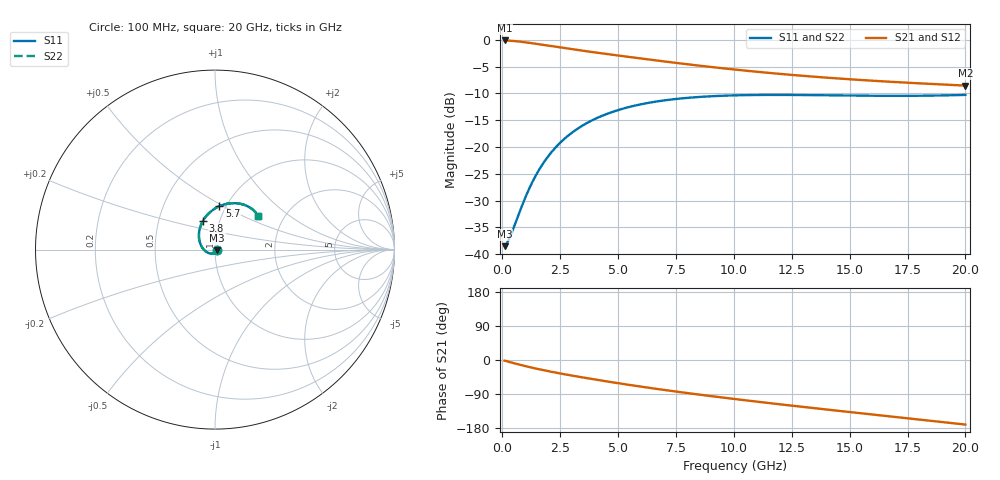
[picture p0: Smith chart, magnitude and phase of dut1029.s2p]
! Touchstone file exported from HFSS 2024.1.0
!  File:  C:/UserFiles/LocalFiles/RDL_TSV_Batchsim/temp_RDL_TSV_1029_1780083094.aedt
!  Generated:  03:45:09 AM May 30, 2026
!  Design:  RDL_TSV
!  Project:  temp_RDL_TSV_1029_1780083094
!  Setup:  Setup1
!  Solution:  Sweep
! Variables:
!  dtsv = 13.22um
!  hbump = 3um
!  htsv = 78.4um
!  ldown = 334.22um
!  lrdl = 296.53um
!  p = 40
!  p1 = 56.56um
!  rhole = 10um
!  subl = 2188.78um
!  t = 450um
!  tdown = 3.05um
!  trdl = 3.19um
!  viad = 10um
!  wdown = 29.95um
!  wrdl = 18.48um
!  xbump = 18um
# GHz S MA R 50.000000
! Terminal data exported
! Port[1] = TM1_1_T1
! Port[2] = TM1_4_T1
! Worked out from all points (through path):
!   200 points, 100 MHz to 20 GHz, reference 50 ohm
!   highest |S21| = -0.11 dB at 100 MHz (marker M1); lowest = -8.5 dB at 20 GHz (marker M2)
!   group delay of S21, straight-line fit = 22.1 ps
!   lowest |S11| = -38.5 dB at 100 MHz (marker M3), VSWR 1.02, Z = 51.1 - j0.373 ohm
!   |S11| at or under -10 dB: start of sweep to end of sweep
!   |S22| runs from -38.5 to -10.2 dB; largest |S21 - S12| = 2e-14
!   S11 on the Smith chart (normalised r, x): 100 MHz: 1.02, -0.01; 3.8 GHz: 0.83, +0.28; 5.7 GHz: 0.93, +0.48; 20 GHz: 1.48, +0.62
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0.1  0.01191 -17.8  0.9877 -1.7  0.9877 -1.7  0.01191 -17.8
! Gamma 0 0 0 0
! Port Impedance 50 0 50 0
0.2  0.01273 -35.6  0.986 -3.5  0.986 -3.5  0.01272 -35.6
0.4  0.01574 -69.1  0.9801 -6.8  0.9801 -6.8  0.01574 -69.1
0.9  0.03018 -130.9  0.9557 -14.7  0.9557 -14.7  0.03019 -130.9
1.2  0.04264 -155.4  0.9366 -19.1  0.9366 -19.1  0.04266 -155.5
1.4  0.05202 -168.5  0.923 -21.9  0.923 -21.9  0.05206 -168.5
1.7  0.06717 175.3  0.9022 -25.9  0.9022 -25.9  0.06723 175.2
2.1  0.08839 158.0  0.8749 -30.8  0.8749 -30.8  0.08849 158.0
2.5  0.1098 144.2  0.8489 -35.5  0.8489 -35.5  0.11 144.2
3  0.1359 130.1  0.8186 -41.0  0.8186 -41.0  0.1361 130.1
3.5  0.1604 118.5  0.7904 -46.3  0.7904 -46.3  0.1606 118.5
3.8  0.1741 112.5  0.7743 -49.4  0.7743 -49.4  0.1744 112.5
4.7  0.2107 97.3  0.7291 -58.3  0.7291 -58.3  0.2111 97.3
5.7  0.243 84.2  0.683 -67.7  0.683 -67.7  0.2434 84.2
6.8  0.269 72.8  0.6369 -77.4  0.6369 -77.4  0.2694 72.8
8.4  0.2925 60.4  0.5784 -90.5  0.5784 -90.5  0.293 60.4
10.1  0.304 50.9  0.5271 -103.4  0.5271 -103.4  0.3045 51.0
11.7  0.3068 44.8  0.4879 -114.9  0.4879 -114.9  0.3073 44.8
13.4  0.3053 40.5  0.4545 -126.6  0.4545 -126.6  0.3057 40.5
15  0.3024 38.2  0.4292 -137.3  0.4292 -137.3  0.3028 38.3
16.7  0.3005 37.2  0.4073 -148.6  0.4073 -148.6  0.3009 37.3
20  0.3068 38.0  0.3749 -170.4  0.3749 -170.4  0.3073 38.1
